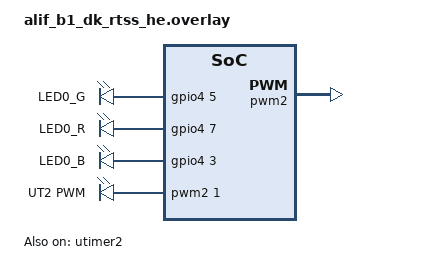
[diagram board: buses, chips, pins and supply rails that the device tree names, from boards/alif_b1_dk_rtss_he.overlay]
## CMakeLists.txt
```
# Copyright (C) 2024 Alif Semiconductor - All Rights Reserved.
# Use, distribution and modification of this code is permitted under the
# terms stated in the Alif Semiconductor Software License Agreement
#
# You should have received a copy of the Alif Semiconductor Software
# License Agreement with this file. If not, please write to:
# contact@alifsemi.com, or visit: https://alifsemi.com/license

cmake_minimum_required(VERSION 3.20.0)
find_package(Zephyr REQUIRED HINTS $ENV{ZEPHYR_BASE})
project(le_periph_blinky)

include(${CMAKE_CURRENT_SOURCE_DIR}/../common/CMakeLists.txt)

# Include directories
target_include_directories(app PRIVATE
	${COMMON_INC}
)

target_sources(app PRIVATE
	src/main.c
	${COMMON_SRCS}
)
```

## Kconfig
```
# Copyright (C) 2025 Alif Semiconductor - All Rights Reserved.
# Use, distribution and modification of this code is permitted under the
# terms stated in the Alif Semiconductor Software License Agreement
#
# You should have received a copy of the Alif Semiconductor Software
# License Agreement with this file. If not, please write to:
# contact@alifsemi.com, or visit: https://alifsemi.com/license

source "Kconfig.zephyr"

config SLEEP_ENABLED
	bool "Application sleep enabled"
	default n
	depends on PM
	help
	  M55 core can sleep during the operation setting yes allows full STOP mode operation.
```

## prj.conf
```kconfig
CONFIG_BT=y
CONFIG_BT_CUSTOM=y
CONFIG_LOG=y
CONFIG_ASSERT=y
CONFIG_GPIO=y

# Needed for Zephyr randomizer
CONFIG_ENTROPY_GENERATOR=y
CONFIG_TEST_RANDOM_GENERATOR=y

# Bluetooth Low Energy device name
CONFIG_BLE_DEVICE_NAME="ALIF_BLK"
```

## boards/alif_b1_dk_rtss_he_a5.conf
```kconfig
CONFIG_PM=y
CONFIG_PM_DEVICE=y
CONFIG_COUNTER=y
CONFIG_COUNTER_RTC_SNPS_DW=y
CONFIG_COUNTER_SNPS_DW=n
CONFIG_DMA_LOG_LEVEL_ERR=y
CONFIG_LOG=n
CONFIG_SLEEP_ENABLED=y

CONFIG_CORTEX_M_SYSTICK_IDLE_TIMER=y

CONFIG_SYS_CLOCK_TICKS_PER_SEC=1000
CONFIG_CONSOLE=n
CONFIG_STDOUT_CONSOLE=n
CONFIG_POWEROFF=y
CONFIG_BOOT_BANNER=n
CONFIG_SOC_B1_DCDC_VOLTAGE=775

CONFIG_SE_SERVICE_INIT_PRIORITY=1
CONFIG_KERNEL_INIT_PRIORITY_DEFAULT=0
CONFIG_GPIO_INIT_PRIORITY=40

CONFIG_ALIF_MAX_SLEEP_CLOCK_DRIFT=252
CONFIG_ALIF_MAX_ACTIVE_CLOCK_DRIFT=252
```

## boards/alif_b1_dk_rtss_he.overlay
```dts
/* Copyright (C) 2024 Alif Semiconductor - All Rights Reserved.
 * Use, distribution and modification of this code is permitted under the
 * terms stated in the Alif Semiconductor Software License Agreement
 *
 * You should have received a copy of the Alif Semiconductor Software
 * License Agreement with this file. If not, please write to:
 * contact@alifsemi.com, or visit: https://alifsemi.com/license
 */



&{/} {
	aliases {
		led0 = &aled0;
		led1 = &aled1;
		led2 = &aled2;
		pwm-led0 = &pwm_ut2;
		sw0 = &button0;
	};
	leds {
		compatible = "gpio-leds";
		aled0: led_0 {
			gpios = <&gpio4 5 0>;
			label = "LED0_G";
		};

		aled1: led_1 {
			gpios = <&gpio4 7 0>;
			label = "LED0_R";
		};

		aled2: led_2 {
			gpios = <&gpio4 3 0>;
			label = "LED0_B";
		};
	};

	pwmleds {

		compatible = "pwm-leds";
		pwm_ut2: pwm_ut2 {
			pwms = <&pwm2 1 PWM_MSEC(20) PWM_POLARITY_NORMAL>;
			label = "UT2 PWM";
		};
	};
};

&utimer2 {
	status = "okay";
	pwm2: pwm2 {
		pinctrl-0 = < &pinctrl_ut2 >;
		pinctrl-names = "default";
		status = "okay";
	};
};

/* for "buttons" node gpio5_7, enable software pull-up */
&pinctrl_gpio5 {
	group0 {
		pinmux = < PIN_P5_0__GPIO >,
			 < PIN_P5_1__GPIO >,
			 < PIN_P5_2__GPIO >,
			 < PIN_P5_3__GPIO >,
			 < PIN_P5_4__GPIO >,
			 < PIN_P5_5__GPIO >,
			 < PIN_P5_6__GPIO >,
			 < PIN_P5_7__GPIO >;
		read_enable = < 0x1 >;
	};

	group1 {
		pinmux = < PIN_P5_7__GPIO >;
		driver_state_control = <1>;
	};
};
```

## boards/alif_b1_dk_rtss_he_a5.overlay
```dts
/* Copyright (C) 2024 Alif Semiconductor - All Rights Reserved.
 * Use, distribution and modification of this code is permitted under the
 * terms stated in the Alif Semiconductor Software License Agreement
 *
 * You should have received a copy of the Alif Semiconductor Software
 * License Agreement with this file. If not, please write to:
 * contact@alifsemi.com, or visit: https://alifsemi.com/license
 */
#include "alif_b1_pm.dtsi"


&{/} {
	aliases {
		led0 = &aled0;
		led1 = &aled1;
		led2 = &aled2;
		pwm-led0 = &pwm_ut2;
		sw0 = &button0;
	};
	leds {
		compatible = "gpio-leds";
		aled0: led_0 {
			gpios = <&gpio4 5 0>;
			label = "LED0_G";
		};

		aled1: led_1 {
			gpios = <&gpio4 7 0>;
			label = "LED0_R";
		};

		aled2: led_2 {
			gpios = <&gpio4 3 0>;
			label = "LED0_B";
		};
	};

	pwmleds {

		compatible = "pwm-leds";
		pwm_ut2: pwm_ut2 {
			pwms = <&pwm2 1 PWM_MSEC(20) PWM_POLARITY_NORMAL>;
			label = "UT2 PWM";
		};
	};
};

&utimer2 {
	status = "okay";
	pwm2: pwm2 {
		pinctrl-0 = < &pinctrl_ut2 >;
		pinctrl-names = "default";
		status = "okay";
	};
};

/* for "buttons" node gpio5_7, enable software pull-up */
&pinctrl_gpio5 {
	group0 {
		pinmux = < PIN_P5_0__GPIO >,
			 < PIN_P5_1__GPIO >,
			 < PIN_P5_2__GPIO >,
			 < PIN_P5_3__GPIO >,
			 < PIN_P5_4__GPIO >,
			 < PIN_P5_5__GPIO >,
			 < PIN_P5_6__GPIO >,
			 < PIN_P5_7__GPIO >;
		read_enable = < 0x1 >;
	};

	group1 {
		pinmux = < PIN_P5_7__GPIO >;
		driver_state_control = <1>;
	};
};
```

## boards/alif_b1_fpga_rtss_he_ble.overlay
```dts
/* Copyright (C) 2025 Alif Semiconductor - All Rights Reserved.
 * Use, distribution and modification of this code is permitted under the
 * terms stated in the Alif Semiconductor Software License Agreement
 *
 * You should have received a copy of the Alif Semiconductor Software
 * License Agreement with this file. If not, please write to:
 * contact@alifsemi.com, or visit: https://alifsemi.com/license
 */



&{/} {
	aliases {
		led0 = &aled0;
		led1 = &aled1;
		led2 = &aled2;
		pwm-led0 = &pwm_ut2;
	};
	leds {
		compatible = "gpio-leds";
		aled0: led_0 {
			gpios = <&gpio4 5 0>;
			label = "LED0_G";
		};

		aled1: led_1 {
			gpios = <&gpio4 7 0>;
			label = "LED0_R";
		};

		aled2: led_2 {
			gpios = <&gpio4 3 0>;
			label = "LED0_B";
		};
	};
};
```

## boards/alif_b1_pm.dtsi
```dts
/*
 * Copyright (c) 2024 Alif Semiconductor
 * SPDX-License-Identifier: Apache-2.0
 */

/*
 * Enable RTC and Set the counter to increment every 1sec
 */
&rtc0 {
	prescaler = < 0 >;
	status = "okay";
};

&uart_ahi {
	status = "disabled";
};

/**
 * Set the console uart frequency to use the HFOSC(38.4)
 */
&uart2 {
	clock-frequency = < 38400000 >;
};
/ {
	chosen {
		zephyr,cortex-m-idle-timer = &rtc0;
	};

	power-states {
		off: off {
			min-residency-us = < 40000 >;
		};
	};
};
```

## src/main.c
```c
/* Copyright (C) 2024 Alif Semiconductor - All Rights Reserved.
 * Use, distribution and modification of this code is permitted under the
 * terms stated in the Alif Semiconductor Software License Agreement
 *
 * You should have received a copy of the Alif Semiconductor Software
 * License Agreement with this file. If not, please write to:
 * contact@alifsemi.com, or visit: https://alifsemi.com/license
 */

/* This application demonstrates the communication and control of a device
 * allowing to remotely control an LED, and to transmit the state of a button.
 */

#include <zephyr/kernel.h>
#include <zephyr/logging/log.h>
#include "alif_ble.h"
#include "gapm.h"
#include "gap_le.h"
#include "gapc_le.h"
#include "gapc_sec.h"
#include "gapm_le.h"
#include "gapm_le_adv.h"
#include "co_buf.h"
#include "prf.h"
#include "gatt_db.h"
#include "gatt_srv.h"
#include "ke_mem.h"
#include "address_verification.h"
#include <zephyr/drivers/gpio.h>
#if defined(CONFIG_PM)
#include <power_mgr.h>
#endif

#define LED0_NODE DT_ALIAS(led0)
#define LED2_NODE DT_ALIAS(led2)
#define SW0_NODE  DT_ALIAS(sw0)

static uint8_t adv_type; /* Advertising type, set by address_verification() */

static const struct gpio_dt_spec led0 = GPIO_DT_SPEC_GET(LED0_NODE, gpios);
static const struct gpio_dt_spec led2 = GPIO_DT_SPEC_GET(LED2_NODE, gpios);
static const struct gpio_dt_spec button = GPIO_DT_SPEC_GET_OR(SW0_NODE, gpios, {0});

#define BT_CONN_STATE_CONNECTED    0x00
#define BT_CONN_STATE_DISCONNECTED 0x01

/* Service Definitions */
#define ATT_128_PRIMARY_SERVICE  ATT_16_TO_128_ARRAY(GATT_DECL_PRIMARY_SERVICE)
#define ATT_128_INCLUDED_SERVICE ATT_16_TO_128_ARRAY(GATT_DECL_INCLUDE)
#define ATT_128_CHARACTERISTIC   ATT_16_TO_128_ARRAY(GATT_DECL_CHARACTERISTIC)
#define ATT_128_CLIENT_CHAR_CFG  ATT_16_TO_128_ARRAY(GATT_DESC_CLIENT_CHAR_CFG)
/* LED-BUTTON SERVICE and attribute 128 bit UUIDs */
#define LBS_UUID_128_SVC                                                                           \
	{0x23, 0xd1, 0xbc, 0xea, 0x5f, 0x78, 0x23, 0x15,                                           \
	 0xde, 0xef, 0x12, 0x12, 0x23, 0x15, 0x00, 0x00}
#define LBS_UUID_128_CHAR0                                                                         \
	{0x23, 0xd1, 0xbc, 0xea, 0x5f, 0x78, 0x23, 0x15,                                           \
	 0xde, 0xef, 0x12, 0x12, 0x24, 0x15, 0x00, 0x00}
#define LBS_UUID_128_CHAR1                                                                         \
	{0x23, 0xd1, 0xbc, 0xea, 0x5f, 0x78, 0x23, 0x15,                                           \
	 0xde, 0xef, 0x12, 0x12, 0x25, 0x15, 0x00, 0x00}
#define LBS_METAINFO_CHAR0_NTF_SEND 0x1234
#define ATT_16_TO_128_ARRAY(uuid)                                                                  \
	{(uuid) & 0xFF, (uuid >> 8) & 0xFF, 0, 0, 0, 0, 0, 0, 0, 0, 0, 0, 0, 0, 0, 0}

/* List of attributes in the service */
enum service_att_list {
	LBS_IDX_SERVICE = 0,
	/* First characteristic is readable + supports notifications */
	LBS_IDX_BUTTON_CHAR,
	LBS_IDX_BUTTON_VAL,
	LBS_IDX_BUTTON_NTF_CFG,
	/* Second characteristic is writable */
	LBS_IDX_LED_CHAR,
	LBS_IDX_LED_VAL,
	/* Number of items*/
	LBS_IDX_NB,
};

static uint8_t conn_status __attribute__((noinit));
static uint8_t conn_idx __attribute__((noinit));
static uint8_t adv_actv_idx __attribute__((noinit));
static struct service_env env __attribute__((noinit));
static bool led_state;
static uint8_t led_cnt;

/* Load name from configuration file */
#define DEVICE_NAME      CONFIG_BLE_DEVICE_NAME
#define SAMPLE_ADDR_TYPE ALIF_STATIC_RAND_ADDR /* Static random address */
static const char device_name[] = DEVICE_NAME;

/* Service UUID to pass into gatt_db_svc_add */
static const uint8_t lbs_service_uuid[] = LBS_UUID_128_SVC;

/* GATT database for the service */
static const gatt_att_desc_t lbs_att_db[LBS_IDX_NB] = {
	[LBS_IDX_SERVICE] = {ATT_128_PRIMARY_SERVICE, ATT_UUID(16) | PROP(RD), 0},

	[LBS_IDX_BUTTON_CHAR] = {ATT_128_CHARACTERISTIC, ATT_UUID(16) | PROP(RD), 0},
	[LBS_IDX_BUTTON_VAL] = {LBS_UUID_128_CHAR0, ATT_UUID(128) | PROP(RD) | PROP(N),
			       OPT(NO_OFFSET)},
	[LBS_IDX_BUTTON_NTF_CFG] = {ATT_128_CLIENT_CHAR_CFG, ATT_UUID(16) | PROP(RD) | PROP(WR), 0},

	[LBS_IDX_LED_CHAR] = {ATT_128_CHARACTERISTIC, ATT_UUID(16) | PROP(RD), 0},
	[LBS_IDX_LED_VAL] = {LBS_UUID_128_CHAR1, ATT_UUID(128) | PROP(WR),
			       OPT(NO_OFFSET) | sizeof(uint16_t)},
};

/* Bluetooth stack configuration*/
static gapm_config_t gapm_cfg = {
	.role = GAP_ROLE_LE_PERIPHERAL,
	.pairing_mode = GAPM_PAIRING_DISABLE,
	.privacy_cfg = 0,
	.renew_dur = 1500,
	.private_identity.addr = {0xCF, 0xFE, 0xFB, 0xDE, 0x11, 0x07},
	.irk.key = {0, 0, 0, 0, 0, 0, 0, 0, 0, 0, 0, 0, 0, 0, 0, 0},
	.gap_start_hdl = 0,
	.gatt_start_hdl = 0,
	.att_cfg = 0,
	.sugg_max_tx_octets = GAP_LE_MIN_OCTETS,
	.sugg_max_tx_time = GAP_LE_MIN_TIME,
	.tx_pref_phy = GAP_PHY_ANY,
	.rx_pref_phy = GAP_PHY_ANY,
	.tx_path_comp = 0,
	.rx_path_comp = 0,
	.class_of_device = 0,  /* BT Classic only */
	.dflt_link_policy = 0, /* BT Classic only */
};

/* Environment for the service */
struct service_env {
	uint16_t start_hdl;
	uint8_t user_lid;
	uint8_t button_state_val;
	uint8_t led0_val;
	bool ntf_ongoing;
	uint16_t ntf_cfg;
};

/* Macros */
LOG_MODULE_REGISTER(main, LOG_LEVEL_DBG);
K_SEM_DEFINE(init_sem, 0, 1);

/* function headers */
static uint16_t service_init(void);

/* Functions */
static uint16_t start_le_adv(uint8_t actv_idx)
{
	uint16_t err;
	gapm_le_adv_param_t adv_params = {
		/* Advertise indefinitely */
		.duration = 0,
	};

	err = gapm_le_start_adv(actv_idx, &adv_params);
	if (err) {
		LOG_ERR("Failed to start LE advertising with error %u", err);
	}
	return err;
}

/**
 * Bluetooth GAPM callbacks
 */
static void on_le_connection_req(uint8_t conidx, uint32_t metainfo, uint8_t actv_idx, uint8_t role,
				 const gap_bdaddr_t *p_peer_addr,
				 const gapc_le_con_param_t *p_con_params, uint8_t clk_accuracy)
{
	LOG_INF("Connection request on index %u", conidx);
	gapc_le_connection_cfm(conidx, 0, NULL);

	LOG_DBG("Connection parameters: interval %u, latency %u, supervision timeout %u",
		p_con_params->interval, p_con_params->latency, p_con_params->sup_to);

	LOG_INF("Peer BD address %02X:%02X:%02X:%02X:%02X:%02X (conidx: %u)", p_peer_addr->addr[5],
		p_peer_addr->addr[4], p_peer_addr->addr[3], p_peer_addr->addr[2],
		p_peer_addr->addr[1], p_peer_addr->addr[0], conidx);

	led_state = false;
	led_cnt = 0;
	gpio_pin_set_dt(&led2, led_state);
	conn_status = BT_CONN_STATE_CONNECTED;
	conn_idx = conidx;
}

static void on_key_received(uint8_t conidx, uint32_t metainfo, const gapc_pairing_keys_t *p_keys)
{
	LOG_WRN("Unexpected key received key on conidx %u", conidx);
}

static void on_disconnection(uint8_t conidx, uint32_t metainfo, uint16_t reason)
{
	uint16_t err;

	LOG_INF("Connection index %u disconnected for reason %u", conidx, reason);

	err = start_le_adv(adv_actv_idx);
	if (err) {
		LOG_ERR("Error restarting advertising: %u", err);
	} else {
		LOG_DBG("Restarting advertising");
	}

	led_state = false;
	led_cnt = 0;
	if (env.led0_val) {
#if defined(CONFIG_PM)
		/* Update back to Stop mode */
		power_mgr_set_offprofile(PM_STATE_MODE_STOP);
#endif
		gpio_pin_set_dt(&led0, 0);
		env.led0_val = 0;
	}

	conn_status = BT_CONN_STATE_DISCONNECTED;
	conn_idx = 0;
}

static void on_name_get(uint8_t conidx, uint32_t metainfo, uint16_t token, uint16_t offset,
			uint16_t max_len)
{
	const size_t device_name_len = sizeof(device_name) - 1;
	const size_t short_len = (device_name_len > max_len ? max_len : device_name_len);

	gapc_le_get_name_cfm(conidx, token, GAP_ERR_NO_ERROR, device_name_len, short_len,
			     (const uint8_t *)device_name);
}

static void on_appearance_get(uint8_t conidx, uint32_t metainfo, uint16_t token)
{
	/* Send 'unknown' appearance */
	gapc_le_get_appearance_cfm(conidx, token, GAP_ERR_NO_ERROR, 0);
}

static const gapc_connection_req_cb_t gapc_con_cbs = {
	.le_connection_req = on_le_connection_req,
};

static const gapc_security_cb_t gapc_sec_cbs = {
	.key_received = on_key_received,
	/* All other callbacks in this struct are optional */
};

static const gapc_connection_info_cb_t gapc_con_inf_cbs = {
	.disconnected = on_disconnection,
	.name_get = on_name_get,
	.appearance_get = on_appearance_get,
	/* Other callbacks in this struct are optional */
};

/* All callbacks in this struct are optional */
static const gapc_le_config_cb_t gapc_le_cfg_cbs;

#if !CONFIG_ALIF_BLE_ROM_IMAGE_V1_0 /* ROM version > 1.0 */
static void on_gapm_err(uint32_t metainfo, uint8_t code)
{
	LOG_ERR("gapm error %d", code);
}
static const gapm_cb_t gapm_err_cbs = {
	.cb_hw_error = on_gapm_err,
};

static const gapm_callbacks_t gapm_cbs = {
	.p_con_req_cbs = &gapc_con_cbs,
	.p_sec_cbs = &gapc_sec_cbs,
	.p_info_cbs = &gapc_con_inf_cbs,
	.p_le_config_cbs = &gapc_le_cfg_cbs,
	.p_bt_config_cbs = NULL, /* BT classic so not required */
	.p_gapm_cbs = &gapm_err_cbs,
};
#else
static void on_gapm_err(enum co_error err)
{
	LOG_ERR("gapm error %d", err);
}
static const gapm_err_info_config_cb_t gapm_err_cbs = {
	.ctrl_hw_error = on_gapm_err,
};

static const gapm_callbacks_t gapm_cbs = {
	.p_con_req_cbs = &gapc_con_cbs,
	.p_sec_cbs = &gapc_sec_cbs,
	.p_info_cbs = &gapc_con_inf_cbs,
	.p_le_config_cbs = &gapc_le_cfg_cbs,
	.p_bt_config_cbs = NULL, /* BT classic so not required */
	.p_err_info_config_cbs = &gapm_err_cbs,
};
#endif /* !CONFIG_ALIF_BLE_ROM_IMAGE_V1_0 */

static uint16_t set_advertising_data(uint8_t actv_idx)
{
	uint16_t err;

	/* gatt service identifier */
	uint16_t svc[8] = {0xd123, 0xeabc, 0x785f, 0x1523, 0xefde, 0x1212, 0x1523, 0x0000};

	/* Name advertising length */
	const size_t device_name_len = sizeof(device_name) - 1;
	const uint16_t adv_device_name = GATT_HANDLE_LEN + device_name_len;

	/* Service advertising length */
	const uint16_t adv_uuid_svc = GATT_HANDLE_LEN + GATT_UUID_128_LEN;

	/* Create advertising data with necessary services */
	const uint16_t adv_len = adv_device_name + adv_uuid_svc;

	co_buf_t *p_buf;
	uint8_t *p_data;

	err = co_buf_alloc(&p_buf, 0, adv_len, 0);
	if (err != 0) {
		LOG_ERR("Buffer allocation failed");
		return err;
	}

	p_data = co_buf_data(p_buf);

	/* Device name data */
	p_data[0] = device_name_len + 1;
	p_data[1] = GAP_AD_TYPE_COMPLETE_NAME;
	memcpy(p_data + 2, device_name, device_name_len);

	/* Update data pointer */
	p_data = p_data + adv_device_name;

	/* Service UUID data */
	p_data[0] = GATT_UUID_128_LEN + 1;
	p_data[1] = GAP_AD_TYPE_COMPLETE_LIST_128_BIT_UUID;
	memcpy(p_data + 2, &svc, sizeof(svc));

	err = gapm_le_set_adv_data(actv_idx, p_buf);
	co_buf_release(p_buf);

	if (err) {
		LOG_ERR("Failed to set advertising data with error %u", err);
	}

	return err;
}

static uint16_t set_scan_data(uint8_t actv_idx)
{
	co_buf_t *p_buf;
	uint16_t err = co_buf_alloc(&p_buf, 0, 0, 0);

	__ASSERT(err == 0, "Buffer allocation failed");

	err = gapm_le_set_scan_response_data(actv_idx, p_buf);
	if (err) {
		LOG_ERR("Failed to set scan data with error %u", err);
	}

	return err;
}

/**
 * Advertising callbacks
 */
static void on_adv_actv_stopped(uint32_t metainfo, uint8_t actv_idx, uint16_t reason)
{
	LOG_DBG("Advertising activity index %u stopped for reason %u", actv_idx, reason);
}

static void on_adv_actv_proc_cmp(uint32_t metainfo, uint8_t proc_id, uint8_t actv_idx,
				 uint16_t status)
{
	if (status) {
		LOG_ERR("Advertising activity process completed with error %u", status);
		return;
	}

	switch (proc_id) {
	case GAPM_ACTV_CREATE_LE_ADV:
		LOG_DBG("Advertising activity is created");
		adv_actv_idx = actv_idx;
		set_advertising_data(actv_idx);
		break;

	case GAPM_ACTV_SET_ADV_DATA:
		LOG_DBG("Advertising data is set");
		set_scan_data(actv_idx);
		break;

	case GAPM_ACTV_SET_SCAN_RSP_DATA:
		LOG_DBG("Scan data is set");
		start_le_adv(actv_idx);
		break;

	case GAPM_ACTV_START:
		address_verification_log_advertising_address(actv_idx);
		k_sem_give(&init_sem);
		break;

	default:
		LOG_WRN("Unexpected GAPM activity complete, proc_id %u", proc_id);
		break;
	}
}

static void on_adv_created(uint32_t metainfo, uint8_t actv_idx, int8_t tx_pwr)
{
	LOG_DBG("Advertising activity created, index %u, selected tx power %d", actv_idx, tx_pwr);
}

static const gapm_le_adv_cb_actv_t le_adv_cbs = {
	.hdr.actv.stopped = on_adv_actv_stopped,
	.hdr.actv.proc_cmp = on_adv_actv_proc_cmp,
	.created = on_adv_created,
};

static uint16_t create_advertising(void)
{
	uint16_t err;

	gapm_le_adv_create_param_t adv_create_params = {
		.prop = GAPM_ADV_PROP_UNDIR_CONN_MASK,
		.disc_mode = GAPM_ADV_MODE_GEN_DISC,
#if !CONFIG_ALIF_BLE_ROM_IMAGE_V1_0 /* ROM version > 1.0 */
		.tx_pwr = 0,
#else
		.max_tx_pwr = 0,
#endif /* !CONFIG_ALIF_BLE_ROM_IMAGE_V1_0 */
		.filter_pol = GAPM_ADV_ALLOW_SCAN_ANY_CON_ANY,
		.prim_cfg = {
				.adv_intv_min = 160,
				.adv_intv_max = 800,
				.ch_map = ADV_ALL_CHNLS_EN,
				.phy = GAPM_PHY_TYPE_LE_1M,
			},
	};

	err = gapm_le_create_adv_legacy(0, adv_type, &adv_create_params, &le_adv_cbs);
	if (err) {
		LOG_ERR("Error %u creating advertising activity", err);
	}

	return err;
}

/* Add service to the stack */
static void server_configure(void)
{
	uint16_t err;

	err = service_init();

	if (err) {
		LOG_ERR("Error %u adding profile", err);
	}
}

void on_gapm_process_complete(uint32_t metainfo, uint16_t status)
{
	if (status) {
		LOG_ERR("gapm process completed with error %u", status);
		return;
	}

	server_configure();

	print_device_identity();

	LOG_DBG("gapm process completed successfully");

	create_advertising();
}

/* Service callbacks */
static void on_att_read_get(uint8_t conidx, uint8_t user_lid, uint16_t token, uint16_t hdl,
			    uint16_t offset, uint16_t max_length)
{
	co_buf_t *p_buf = NULL;
	uint16_t status = GAP_ERR_NO_ERROR;
	uint16_t att_val_len = 0;
	void *att_val = NULL;

	do {
		if (offset != 0) {
			/* Long read not supported for any characteristics within this service */
			status = ATT_ERR_INVALID_OFFSET;
			break;
		}

		uint8_t att_idx = hdl - env.start_hdl;

		switch (att_idx) {
		case LBS_IDX_BUTTON_VAL:
			att_val_len = sizeof(env.button_state_val);
			att_val = &env.button_state_val;
			LOG_DBG("read button state");
			break;

		case LBS_IDX_BUTTON_NTF_CFG:
			att_val_len = sizeof(env.ntf_cfg);
			att_val = &env.ntf_cfg;
			break;

		default:
			break;
		}

		if (att_val == NULL) {
			status = ATT_ERR_REQUEST_NOT_SUPPORTED;
			break;
		}

		status = co_buf_alloc(&p_buf, GATT_BUFFER_HEADER_LEN, att_val_len,
				      GATT_BUFFER_TAIL_LEN);
		if (status != CO_BUF_ERR_NO_ERROR) {
			status = ATT_ERR_INSUFF_RESOURCE;
			break;
		}

		memcpy(co_buf_data(p_buf), att_val, att_val_len);
	} while (0);

	/* Send the GATT response */
	gatt_srv_att_read_get_cfm(conidx, user_lid, token, status, att_val_len, p_buf);
	if (p_buf != NULL) {
		co_buf_release(p_buf);
	}
}

static void on_att_val_set(uint8_t conidx, uint8_t user_lid, uint16_t token, uint16_t hdl,
			   uint16_t offset, co_buf_t *p_data)
{
	uint16_t status = GAP_ERR_NO_ERROR;

	do {
		if (offset != 0) {
			/* Long write not supported for any characteristics in this service */
			status = ATT_ERR_INVALID_OFFSET;
			break;
		}

		uint8_t att_idx = hdl - env.start_hdl;

		switch (att_idx) {
		case LBS_IDX_LED_VAL: {
			if (sizeof(env.led0_val) != co_buf_data_len(p_data)) {
				LOG_DBG("Incorrect buffer size");
				status = ATT_ERR_INVALID_ATTRIBUTE_VAL_LEN;
			} else {
				uint8_t led0_val;

				led0_val = env.led0_val;
				memcpy(&env.led0_val, co_buf_data(p_data), sizeof(env.led0_val));
				if (led0_val != env.led0_val) {
					LOG_DBG("TOGGLE LED, state %d", env.led0_val);
					if (env.led0_val) {
						gpio_pin_set_dt(&led0, 1);
					} else {
						gpio_pin_set_dt(&led0, 0);

					}
#if defined(CONFIG_PM)
					/* Update off profile based on led state */
					power_mgr_set_offprofile(env.led0_val ? PM_STATE_MODE_IDLE
									      : PM_STATE_MODE_STOP);
#endif
				}
			}
			break;
		}

		case LBS_IDX_BUTTON_NTF_CFG: {
			if (sizeof(uint16_t) != co_buf_data_len(p_data)) {
				LOG_DBG("Incorrect buffer size");
				status = ATT_ERR_INVALID_ATTRIBUTE_VAL_LEN;
			} else {
				uint16_t cfg;

				memcpy(&cfg, co_buf_data(p_data), sizeof(uint16_t));
				if (PRF_CLI_START_NTF == cfg || PRF_CLI_STOP_NTFIND == cfg) {
					env.ntf_cfg = cfg;
				} else {
					/* Indications not supported */
					status = ATT_ERR_REQUEST_NOT_SUPPORTED;
				}
			}
			break;
		}

		default:
			status = ATT_ERR_REQUEST_NOT_SUPPORTED;
			break;
		}
	} while (0);

	/* Send the GATT write confirmation */
	gatt_srv_att_val_set_cfm(conidx, user_lid, token, status);
}

static void on_event_sent(uint8_t conidx, uint8_t user_lid, uint16_t metainfo, uint16_t status)
{
	if (metainfo == LBS_METAINFO_CHAR0_NTF_SEND) {
		env.ntf_ongoing = false;
	}
}

static const gatt_srv_cb_t gatt_cbs = {
	.cb_att_event_get = NULL,
	.cb_att_info_get = NULL,
	.cb_att_read_get = on_att_read_get,
	.cb_att_val_set = on_att_val_set,
	.cb_event_sent = on_event_sent,
};

/*
 * Service functions
 */
static uint16_t service_init(void)
{
	uint16_t status;

	/* Register a GATT user */
	status = gatt_user_srv_register(L2CAP_LE_MTU_MIN, 0, &gatt_cbs, &env.user_lid);
	if (status != GAP_ERR_NO_ERROR) {
		return status;
	}

	/* Add the GATT service */
	status = gatt_db_svc_add(env.user_lid, SVC_UUID(128), lbs_service_uuid, LBS_IDX_NB, NULL,
				 lbs_att_db, LBS_IDX_NB, &env.start_hdl);
	if (status != GAP_ERR_NO_ERROR) {
		gatt_user_unregister(env.user_lid);
		return status;
	}

	return GAP_ERR_NO_ERROR;
}

static uint16_t service_notification_send(uint32_t conidx_mask, uint8_t val)
{
	co_buf_t *p_buf;
	uint16_t status;
	uint8_t conidx = 0;

	if (env.button_state_val == val) {
		/* Do not send if no update to state */
		return GAP_ERR_NO_ERROR;
	}

	env.button_state_val = val;

	/* Cannot send another notification unless previous one is completed */
	if (env.ntf_ongoing) {
		return PRF_ERR_REQ_DISALLOWED;
	}

	/* Check notification subscription */
	if (env.ntf_cfg != PRF_CLI_START_NTF) {
		return PRF_ERR_NTF_DISABLED;
	}

	/* Get a buffer to put the notification data into */
	status = co_buf_alloc(&p_buf, GATT_BUFFER_HEADER_LEN, sizeof(env.button_state_val),
			      GATT_BUFFER_TAIL_LEN);
	if (status != CO_BUF_ERR_NO_ERROR) {
		return GAP_ERR_INSUFF_RESOURCES;
	}

	memcpy(co_buf_data(p_buf), &env.button_state_val, sizeof(env.button_state_val));

	status = gatt_srv_event_send(conidx, env.user_lid, LBS_METAINFO_CHAR0_NTF_SEND, GATT_NOTIFY,
				     env.start_hdl + LBS_IDX_BUTTON_VAL, p_buf);

	co_buf_release(p_buf);

	if (status == GAP_ERR_NO_ERROR) {
		env.ntf_ongoing = true;
	}

	return status;
}

int main(void)
{
	uint16_t ble_status;
	uint16_t err;
	int res;

#if defined(CONFIG_PM)
	if (power_mgr_cold_boot()) {

		res = power_mgr_set_offprofile(PM_STATE_MODE_STOP);

		if (res) {
			LOG_DBG("off profile set ERROR: %d", res);
			return res;
		}
	}
#endif

	/* Start up bluetooth host stack. */
	ble_status = alif_ble_enable(NULL);

	if (ble_status == 0) {
		conn_status = BT_CONN_STATE_DISCONNECTED;
		conn_idx = 0;
		memset(&env, 0, sizeof(struct service_env));

		if (address_verification(SAMPLE_ADDR_TYPE, &adv_type, &gapm_cfg)) {
			LOG_ERR("Address verification failed");
			return -EADV;
		}

		err = gapm_configure(0, &gapm_cfg, &gapm_cbs, on_gapm_process_complete);
		if (err) {
			LOG_ERR("gapm_configure error %u", err);
			return -1;
		}

		LOG_DBG("Waiting for init...\n");
		k_sem_take(&init_sem, K_FOREVER);

		LOG_DBG("Init complete!\n");
	}

	/* Configure LED 0 */
	if (!gpio_is_ready_dt(&led0)) {
		LOG_ERR("led0 is not ready!");
		return 0;
	}

	res = gpio_pin_configure_dt(&led0, GPIO_OUTPUT_ACTIVE);
	if (res < 0) {
		LOG_ERR("led0 configure failed");
		return 0;
	}

	/* LED state */
	gpio_pin_set_dt(&led0, env.led0_val);

	/* Configure LED 2 */
	if (!gpio_is_ready_dt(&led2)) {
		LOG_ERR("led2 is not ready!");
		return 0;
	}

	res = gpio_pin_configure_dt(&led2, GPIO_OUTPUT_ACTIVE);
	if (res < 0) {
		LOG_ERR("led2 configure failed");
		return 0;
	}

	/* LED initial state */
	gpio_pin_set_dt(&led2, 0);
	led_state = false;
	led_cnt = 0;

	/* Configure button */
	if (!gpio_is_ready_dt(&button)) {
		LOG_ERR("Button is not ready");
		return 0;
	}

	res = gpio_pin_configure_dt(&button, GPIO_INPUT);
	if (res != 0) {
		LOG_ERR("Button configure failed");
		return 0;
	}

	while (1) {
#if defined(CONFIG_PM)

		if (conn_status != BT_CONN_STATE_CONNECTED) {
			/* Blinky Advertisement status */
			gpio_pin_set_dt(&led2, 1);
			k_sleep(K_USEC(100));
			gpio_pin_set_dt(&led2, 0);
		} else if ((conn_status == BT_CONN_STATE_CONNECTED) &&
			   (env.ntf_cfg == PRF_CLI_START_NTF) && (!env.ntf_ongoing)) {
			err = service_notification_send(UINT32_MAX, !gpio_pin_get_dt(&button));
			if (err) {
				LOG_ERR("Error %u sending measurement", err);
			}
		}

		if (IS_ENABLED(CONFIG_SLEEP_ENABLED)) {
			power_mgr_set_subsys_off_period(100);
		} else {
			k_sleep(K_MSEC(100));
		}
#else
		k_sleep(K_MSEC(100));
		if (conn_status != BT_CONN_STATE_CONNECTED) {
			led_cnt++;
			if (led_cnt >= 10) {
				led_cnt = 0;
				led_state = !led_state;
				gpio_pin_set_dt(&led2, led_state);
			}
		} else if ((conn_status == BT_CONN_STATE_CONNECTED) &&
			   (env.ntf_cfg == PRF_CLI_START_NTF) && (!env.ntf_ongoing)) {
			err = service_notification_send(UINT32_MAX, !gpio_pin_get_dt(&button));
			if (err) {
				LOG_ERR("Error %u sending measurement", err);
			}
		}
#endif
	}
	return 0;
}
```
